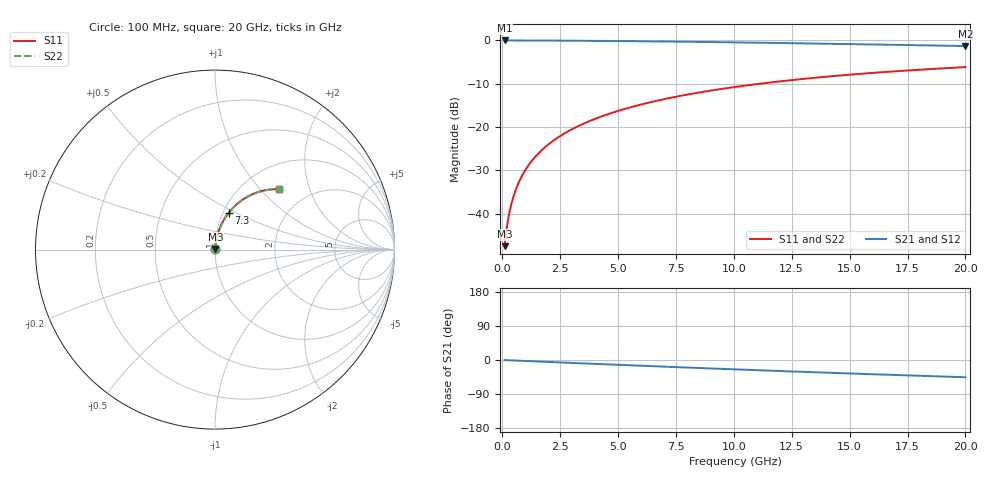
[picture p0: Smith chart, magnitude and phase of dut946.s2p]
! Touchstone file exported from HFSS 2026.1.0
!  File:  C:/ffzhzh/LocalFiles/Ansys_Project_Files/temp_train_BSMRDL_946_1783172177_55132.aedt
!  Generated:  09:37:36 PM Jul  4, 2026
!  Design:  BSMRDL
!  Project:  temp_train_BSMRDL_946_1783172177_55132
! Variables:
!  h_bsmrdl = 5.53um
!  h_ox = 20um
!  h_rdl = 5um
!  h_sub = 80um
!  h_tmrdl = 5um
!  h_tsv = 80um
!  h_via = 3um
!  l_bsmrdl = 615.91um
!  l_sub = 1015.91um
!  l_tmrdl = 200um
!  m_sub = 200um
!  pitch = 57.16um
!  r_tsv = 6um
!  s_tmrdl = 10um
!  w_bsmrdl = 15.37um
!  w_sub = 500um
!  w_tmrdl = 12um
!  x_tsv_center1 = 206um
!  x_tsv_center2 = 837.28um
!  x_tsv_center3 = 1049.28um
!  x_tsv_center4 = 1680.56um
!  x_tsv_center5 = 1892.56um
!  x_tsv_center6 = 2523.84um
# GHz S MA R 50.000000
! Terminal data exported
! Port[1] = BSM_RDL1_1_T1
! Port[2] = BSM_RDL1_1_T2
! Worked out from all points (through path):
!   200 points, 100 MHz to 20 GHz, reference 50 ohm
!   highest |S21| = -0.02 dB at 100 MHz (marker M1); lowest = -1.3 dB at 20 GHz (marker M2)
!   group delay of S21, straight-line fit = 6.33 ps
!   lowest |S11| = -47.5 dB at 100 MHz (marker M3), VSWR 1.01, Z = 50.3 + j0.331 ohm
!   |S11| at or under -10 dB: start of sweep to 11.13 GHz
!   |S22| runs from -47.5 to -6.2 dB; largest |S21 - S12| = 2.6e-15
!   S11 on the Smith chart (normalised r, x): 100 MHz: 1.01, +0.01; 7.3 GHz: 1.06, +0.46; 20 GHz: 1.44, +1.28
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0.1  0.004231 51.0  0.9973 -0.3  0.9973 -0.3  0.004231 51.0
! Gamma 0 0 0 0
! Port Impedance 50 0 50 0
0.2  0.007098 66.8  0.9972 -0.5  0.9972 -0.5  0.007098 66.8
0.3  0.01015 73.1  0.9971 -0.8  0.9971 -0.8  0.01015 73.1
0.4  0.01325 76.4  0.997 -1.1  0.997 -1.1  0.01325 76.4
0.5  0.01637 78.3  0.9969 -1.3  0.9969 -1.3  0.01637 78.3
0.7  0.02263 80.4  0.9967 -1.8  0.9967 -1.8  0.02263 80.4
0.8  0.02578 81.0  0.9966 -2.1  0.9966 -2.1  0.02578 81.0
1  0.03207 81.7  0.9963 -2.6  0.9963 -2.6  0.03207 81.7
1.2  0.03836 82.0  0.996 -3.1  0.996 -3.1  0.03836 82.0
1.4  0.04465 82.0  0.9956 -3.6  0.9956 -3.6  0.04465 82.0
1.7  0.05404 81.8  0.9949 -4.4  0.9949 -4.4  0.05404 81.8
2  0.0634 81.4  0.9942 -5.2  0.9942 -5.2  0.0634 81.4
2.7  0.08501 80.1  0.992 -7.0  0.992 -7.0  0.08501 80.1
3.5  0.1093 78.3  0.989 -9.0  0.989 -9.0  0.1093 78.3
4.2  0.1302 76.8  0.9859 -10.7  0.9859 -10.7  0.1302 76.8
5  0.1536 74.9  0.9819 -12.7  0.9819 -12.7  0.1536 74.9
6.8  0.2045 70.8  0.9714 -17.1  0.9714 -17.1  0.2045 70.8
7.3  0.2183 69.7  0.9682 -18.3  0.9682 -18.3  0.2183 69.7
10.1  0.2912 63.4  0.9477 -24.8  0.9477 -24.8  0.2912 63.4
13.4  0.3682 56.3  0.9199 -32.2  0.9199 -32.2  0.3682 56.3
16.7  0.4349 49.6  0.8901 -39.1  0.8901 -39.1  0.4349 49.6
20  0.4913 43.3  0.8603 -45.5  0.8603 -45.5  0.4913 43.3
